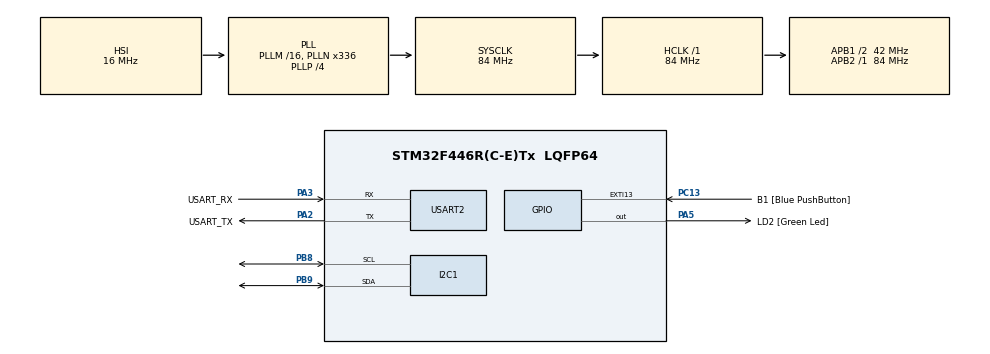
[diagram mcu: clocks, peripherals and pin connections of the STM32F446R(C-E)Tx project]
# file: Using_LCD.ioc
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Mcu.Family=STM32F4
Mcu.Name=STM32F446R(C-E)Tx
Mcu.Package=LQFP64
NVIC.PriorityGroup=NVIC_PRIORITYGROUP_0
PA13.GPIO_Label=TMS
PA13.Mode=Serial_Wire
PA13.Signal=SYS_JTMS-SWDIO
PA14.GPIO_Label=TCK
PA14.Mode=Serial_Wire
PA14.Signal=SYS_JTCK-SWCLK
PA2.GPIO_Label=USART_TX
PA2.Mode=Asynchronous
PA2.Signal=USART2_TX
PA3.GPIO_Label=USART_RX
PA3.Mode=Asynchronous
PA3.Signal=USART2_RX
PA5.GPIO_Label=LD2 [Green Led]
PA5.Signal=GPIO_Output
PB3.GPIO_Label=SWO
PB3.Signal=SYS_JTDO-SWO
PB8.Mode=I2C
PB8.Signal=I2C1_SCL
PB9.Mode=I2C
PB9.Signal=I2C1_SDA
PC13.GPIO_Label=B1 [Blue PushButton]
PC13.GPIO_ModeDefaultEXTI=GPIO_MODE_IT_FALLING
PC13.Signal=GPXTI13
PC14-OSC32_IN.Mode=LSE-External-Oscillator
PC14-OSC32_IN.Signal=RCC_OSC32_IN
PC15-OSC32_OUT.Mode=LSE-External-Oscillator
PC15-OSC32_OUT.Signal=RCC_OSC32_OUT
PH0-OSC_IN.Mode=HSE-External-Oscillator
PH0-OSC_IN.Signal=RCC_OSC_IN
PH1-OSC_OUT.Mode=HSE-External-Oscillator
PH1-OSC_OUT.Signal=RCC_OSC_OUT
ProjectManager.HeapSize=0x200
ProjectManager.StackSize=0x400
ProjectManager.TargetToolchain=STM32CubeIDE
RCC.48MHZClocksFreq_Value=84000000
RCC.AHBFreq_Value=84000000
RCC.APB1CLKDivider=RCC_HCLK_DIV2
RCC.APB1Freq_Value=42000000
RCC.APB1TimFreq_Value=84000000
RCC.APB2Freq_Value=84000000
RCC.APB2TimFreq_Value=84000000
RCC.CortexFreq_Value=84000000
RCC.FLatency-AdvancedSettings=FLASH_LATENCY_2
RCC.HCLKFreq_Value=84000000
RCC.HSE_VALUE=8000000
RCC.HSI_VALUE=16000000
RCC.PLLN=336
RCC.PLLP=RCC_PLLP_DIV4
RCC.SYSCLKFreq_VALUE=84000000
RCC.SYSCLKSource=RCC_SYSCLKSOURCE_PLLCLK
RCC.USBFreq_Value=168000000
RCC.VCOOutputFreq_Value=336000000
USART2.VirtualMode=VM_ASYNC
board=NUCLEO-F446RE

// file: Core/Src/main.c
/* USER CODE BEGIN Header */
/**
  ******************************************************************************
  * @file           : main.c
  * @brief          : Main program body
  ******************************************************************************
  * @attention
  *
  * Copyright (c) 2024 STMicroelectronics.
  * All rights reserved.
  *
  * This software is licensed under terms that can be found in the LICENSE file
  * in the root directory of this software component.
  * If no LICENSE file comes with this software, it is provided AS-IS.
  *
  ******************************************************************************
  */
/* USER CODE END Header */
#include "main.h"

/* USER CODE BEGIN Includes */
#include "liquidcrystal_i2c.h"
/* USER CODE END Includes */

I2C_HandleTypeDef hi2c1;

UART_HandleTypeDef huart2;

void SystemClock_Config(void);
static void MX_GPIO_Init(void);
static void MX_USART2_UART_Init(void);
static void MX_I2C1_Init(void);

int main(void)
{

  /* MCU Configuration--------------------------------------------------------*/

  /* Reset of all peripherals, Initializes the Flash interface and the Systick. */
  HAL_Init();

  /* Configure the system clock */
  SystemClock_Config();

  /* Initialize all configured peripherals */
  MX_GPIO_Init();
  MX_USART2_UART_Init();
  MX_I2C1_Init();

  /* USER CODE BEGIN 2 */
  HD44780_Init(2);
    HD44780_Clear();
    HD44780_SetCursor(0,0);
    HD44780_PrintStr("Welcome to");
    HD44780_SetCursor(4,1);
    HD44780_PrintStr("Texoham AI");
    HAL_Delay(2000);

    HD44780_Clear();
    HD44780_SetCursor(0,0);
    HD44780_PrintStr("WELCOME");
    HAL_Delay(2000);
    HD44780_NoBacklight();
    HAL_Delay(2000);
    HD44780_Backlight();

    HAL_Delay(1000);
    HD44780_Cursor();
    HAL_Delay(1000);
    HD44780_Blink();
    HAL_Delay(1000);
    HD44780_NoBlink();
    HAL_Delay(1000);
    HD44780_NoCursor();
    HAL_Delay(1000);

    HD44780_NoDisplay();
    HAL_Delay(1000);
    HD44780_Display();

    HD44780_Clear();
    HD44780_SetCursor(0,0);
    HD44780_PrintStr("  Welcome to Texoham AI :-)");
//    HD44780_SetCursor(0,1);
//    HD44780_PrintStr("  Welcome to Texoham AI :-)");
    for(int x=0; x<40; x=x+1)
    {
      HD44780_ScrollDisplayLeft();  //HD44780_ScrollDisplayRight();
      HAL_Delay(500);
    }
    HD44780_SetCursor(0,1);
    HD44780_PrintStr("  Learn , Explore and Innovate:-)");
    for(int x=0; x<40; x=x+1)
    {
      HD44780_ScrollDisplayLeft();  //HD44780_ScrollDisplayRight();
      HAL_Delay(500);
    }
    char snum[5];
    for ( int x = 20; x >= 0 ; x-- )
    {
      itoa(x, snum, 10);
      HD44780_Clear();
      HD44780_SetCursor(0,0);
      HD44780_PrintStr("Count Down :");
      HD44780_PrintStr(snum);
      HAL_Delay (1000);
    }
    HD44780_Clear();
    HD44780_SetCursor(0,0);
    HD44780_PrintStr("Welcome to");
    HD44780_SetCursor(4,1);
    HD44780_PrintStr("Texoham AI");

    /* USER CODE END 2 */

  /* Infinite loop */
  while (1)
  {

  }
}

void SystemClock_Config(void)
{
  RCC_OscInitTypeDef RCC_OscInitStruct = {0};
  RCC_ClkInitTypeDef RCC_ClkInitStruct = {0};

  /** Configure the main internal regulator output voltage
  */
  __HAL_RCC_PWR_CLK_ENABLE();
  __HAL_PWR_VOLTAGESCALING_CONFIG(PWR_REGULATOR_VOLTAGE_SCALE3);

  /** Initializes the RCC Oscillators according to the specified parameters
  * in the RCC_OscInitTypeDef structure.
  */
  RCC_OscInitStruct.OscillatorType = RCC_OSCILLATORTYPE_HSI;
  RCC_OscInitStruct.HSIState = RCC_HSI_ON;
  RCC_OscInitStruct.HSICalibrationValue = RCC_HSICALIBRATION_DEFAULT;
  RCC_OscInitStruct.PLL.PLLState = RCC_PLL_ON;
  RCC_OscInitStruct.PLL.PLLSource = RCC_PLLSOURCE_HSI;
  RCC_OscInitStruct.PLL.PLLM = 16;
  RCC_OscInitStruct.PLL.PLLN = 336;
  RCC_OscInitStruct.PLL.PLLP = RCC_PLLP_DIV4;
  RCC_OscInitStruct.PLL.PLLQ = 2;
  RCC_OscInitStruct.PLL.PLLR = 2;
  if (HAL_RCC_OscConfig(&RCC_OscInitStruct) != HAL_OK)
  {
    Error_Handler();
  }

  /** Initializes the CPU, AHB and APB buses clocks
  */
  RCC_ClkInitStruct.ClockType = RCC_CLOCKTYPE_HCLK|RCC_CLOCKTYPE_SYSCLK
                              |RCC_CLOCKTYPE_PCLK1|RCC_CLOCKTYPE_PCLK2;
  RCC_ClkInitStruct.SYSCLKSource = RCC_SYSCLKSOURCE_PLLCLK;
  RCC_ClkInitStruct.AHBCLKDivider = RCC_SYSCLK_DIV1;
  RCC_ClkInitStruct.APB1CLKDivider = RCC_HCLK_DIV2;
  RCC_ClkInitStruct.APB2CLKDivider = RCC_HCLK_DIV1;

  if (HAL_RCC_ClockConfig(&RCC_ClkInitStruct, FLASH_LATENCY_2) != HAL_OK)
  {
    Error_Handler();
  }
}

static void MX_I2C1_Init(void)
{

  hi2c1.Instance = I2C1;
  hi2c1.Init.ClockSpeed = 100000;
  hi2c1.Init.DutyCycle = I2C_DUTYCYCLE_2;
  hi2c1.Init.OwnAddress1 = 0;
  hi2c1.Init.AddressingMode = I2C_ADDRESSINGMODE_7BIT;
  hi2c1.Init.DualAddressMode = I2C_DUALADDRESS_DISABLE;
  hi2c1.Init.OwnAddress2 = 0;
  hi2c1.Init.GeneralCallMode = I2C_GENERALCALL_DISABLE;
  hi2c1.Init.NoStretchMode = I2C_NOSTRETCH_DISABLE;
  if (HAL_I2C_Init(&hi2c1) != HAL_OK)
  {
    Error_Handler();
  }

}

static void MX_USART2_UART_Init(void)
{

  huart2.Instance = USART2;
  huart2.Init.BaudRate = 115200;
  huart2.Init.WordLength = UART_WORDLENGTH_8B;
  huart2.Init.StopBits = UART_STOPBITS_1;
  huart2.Init.Parity = UART_PARITY_NONE;
  huart2.Init.Mode = UART_MODE_TX_RX;
  huart2.Init.HwFlowCtl = UART_HWCONTROL_NONE;
  huart2.Init.OverSampling = UART_OVERSAMPLING_16;
  if (HAL_UART_Init(&huart2) != HAL_OK)
  {
    Error_Handler();
  }

}

static void MX_GPIO_Init(void)
{
  GPIO_InitTypeDef GPIO_InitStruct = {0};

  /* GPIO Ports Clock Enable */
  __HAL_RCC_GPIOC_CLK_ENABLE();
  __HAL_RCC_GPIOH_CLK_ENABLE();
  __HAL_RCC_GPIOA_CLK_ENABLE();
  __HAL_RCC_GPIOB_CLK_ENABLE();

  /*Configure GPIO pin Output Level */
  HAL_GPIO_WritePin(LD2_GPIO_Port, LD2_Pin, GPIO_PIN_RESET);

  /*Configure GPIO pin : B1_Pin */
  GPIO_InitStruct.Pin = B1_Pin;
  GPIO_InitStruct.Mode = GPIO_MODE_IT_FALLING;
  GPIO_InitStruct.Pull = GPIO_NOPULL;
  HAL_GPIO_Init(B1_GPIO_Port, &GPIO_InitStruct);

  /*Configure GPIO pin : LD2_Pin */
  GPIO_InitStruct.Pin = LD2_Pin;
  GPIO_InitStruct.Mode = GPIO_MODE_OUTPUT_PP;
  GPIO_InitStruct.Pull = GPIO_NOPULL;
  GPIO_InitStruct.Speed = GPIO_SPEED_FREQ_LOW;
  HAL_GPIO_Init(LD2_GPIO_Port, &GPIO_InitStruct);

}

void Error_Handler(void)
{
  __disable_irq();
  while (1)
  {
  }
}
